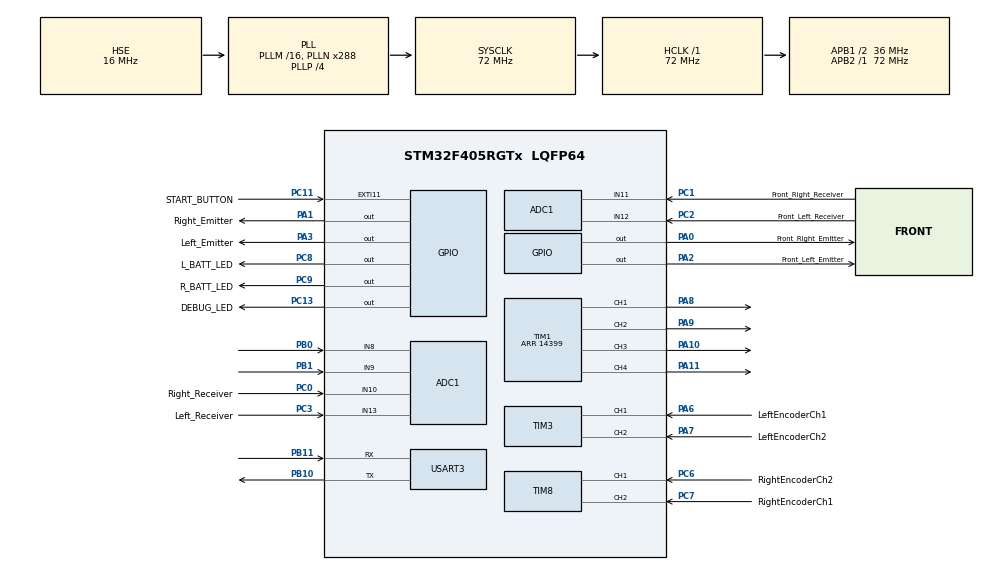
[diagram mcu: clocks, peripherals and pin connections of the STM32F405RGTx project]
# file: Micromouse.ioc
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ADC1.Channel-0\#ChannelRegularConversion=ADC_CHANNEL_13
ADC1.ContinuousConvMode=ENABLE
ADC1.DMAContinuousRequests=ENABLE
ADC1.NbrOfConversionFlag=1
ADC1.Rank-0\#ChannelRegularConversion=1
ADC1.SamplingTime-0\#ChannelRegularConversion=ADC_SAMPLETIME_3CYCLES
ADC1.master=1
Dma.ADC1.0.Direction=DMA_PERIPH_TO_MEMORY
Dma.ADC1.0.FIFOMode=DMA_FIFOMODE_DISABLE
Dma.ADC1.0.Instance=DMA2_Stream0
Dma.ADC1.0.MemDataAlignment=DMA_MDATAALIGN_HALFWORD
Dma.ADC1.0.MemInc=DMA_MINC_ENABLE
Dma.ADC1.0.Mode=DMA_CIRCULAR
Dma.ADC1.0.PeriphDataAlignment=DMA_PDATAALIGN_HALFWORD
Dma.ADC1.0.PeriphInc=DMA_PINC_DISABLE
Dma.ADC1.0.Priority=DMA_PRIORITY_LOW
Dma.Request0=ADC1
Mcu.Family=STM32F4
Mcu.Name=STM32F405RGTx
Mcu.Package=LQFP64
NVIC.DMA2_Stream0_IRQn=true\:0\:0\:false\:false\:true\:false\:true\:true
NVIC.PriorityGroup=NVIC_PRIORITYGROUP_4
PA0-WKUP.GPIO_Label=Front_Right_Emitter
PA0-WKUP.Signal=GPIO_Output
PA1.GPIO_Label=Right_Emitter
PA1.Signal=GPIO_Output
PA10.Signal=S_TIM1_CH3
PA11.Signal=S_TIM1_CH4
PA13.Mode=Serial_Wire
PA13.Signal=SYS_JTMS-SWDIO
PA14.Mode=Serial_Wire
PA14.Signal=SYS_JTCK-SWCLK
PA2.GPIO_Label=Front_Left_Emitter
PA2.Signal=GPIO_Output
PA3.GPIO_Label=Left_Emitter
PA3.Signal=GPIO_Output
PA6.GPIO_Label=LeftEncoderCh1
PA6.Signal=S_TIM3_CH1
PA7.GPIO_Label=LeftEncoderCh2
PA7.Signal=S_TIM3_CH2
PA8.Signal=S_TIM1_CH1
PA9.Signal=S_TIM1_CH2
PB0.Signal=SharedAnalog_PB0
PB1.Signal=SharedAnalog_PB1
PB10.Mode=Asynchronous
PB10.Signal=USART3_TX
PB11.Mode=Asynchronous
PB11.Signal=USART3_RX
PC0.GPIO_Label=Right_Receiver
PC0.Signal=SharedAnalog_PC0
PC1.GPIO_Label=Front_Right_Receiver
PC1.Signal=SharedAnalog_PC1
PC11.GPIO_Label=START_BUTTON
PC11.GPIO_ModeDefaultEXTI=GPIO_MODE_IT_RISING_FALLING
PC11.Signal=GPXTI11
PC13-ANTI_TAMP.GPIO_Label=DEBUG_LED
PC13-ANTI_TAMP.Signal=GPIO_Output
PC2.GPIO_Label=Front_Left_Receiver
PC2.Signal=SharedAnalog_PC2
PC3.GPIO_Label=Left_Receiver
PC3.Signal=SharedAnalog_PC3
PC6.GPIO_Label=RightEncoderCh2
PC6.Signal=S_TIM8_CH1
PC7.GPIO_Label=RightEncoderCh1
PC7.Signal=S_TIM8_CH2
PC8.GPIO_Label=L_BATT_LED
PC8.Signal=GPIO_Output
PC9.GPIO_Label=R_BATT_LED
PC9.Signal=GPIO_Output
PH0-OSC_IN.Mode=HSE-External-Oscillator
PH0-OSC_IN.Signal=RCC_OSC_IN
PH1-OSC_OUT.Mode=HSE-External-Oscillator
PH1-OSC_OUT.Signal=RCC_OSC_OUT
ProjectManager.HeapSize=0x200
ProjectManager.StackSize=0x400
ProjectManager.TargetToolchain=STM32CubeIDE
RCC.48MHZClocksFreq_Value=72000000
RCC.AHBFreq_Value=72000000
RCC.APB1CLKDivider=RCC_HCLK_DIV2
RCC.APB1Freq_Value=36000000
RCC.APB1TimFreq_Value=72000000
RCC.APB2Freq_Value=72000000
RCC.APB2TimFreq_Value=72000000
RCC.CortexFreq_Value=72000000
RCC.HCLKFreq_Value=72000000
RCC.HSE_VALUE=16000000
RCC.HSI_VALUE=16000000
RCC.LSE_VALUE=32768
RCC.PLLN=288
RCC.PLLP=RCC_PLLP_DIV4
RCC.PLLSourceVirtual=RCC_PLLSOURCE_HSE
RCC.SYSCLKFreq_VALUE=72000000
RCC.SYSCLKSource=RCC_SYSCLKSOURCE_PLLCLK
RCC.VCOOutputFreq_Value=288000000
SH.S_TIM1_CH1.0=TIM1_CH1,PWM Generation1 CH1
SH.S_TIM1_CH2.0=TIM1_CH2,PWM Generation2 CH2
SH.S_TIM1_CH3.0=TIM1_CH3,PWM Generation3 CH3
SH.S_TIM1_CH4.0=TIM1_CH4,PWM Generation4 CH4
SH.S_TIM3_CH1.0=TIM3_CH1,Encoder_Interface
SH.S_TIM3_CH2.0=TIM3_CH2,Encoder_Interface
SH.S_TIM8_CH1.0=TIM8_CH1,Encoder_Interface
SH.S_TIM8_CH2.0=TIM8_CH2,Encoder_Interface
SH.SharedAnalog_PB0.0=GPIO_Analog
SH.SharedAnalog_PB0.1=ADC1_IN8,IN8
SH.SharedAnalog_PB1.0=GPIO_Analog
SH.SharedAnalog_PB1.1=ADC1_IN9,IN9
SH.SharedAnalog_PC0.0=GPIO_Analog
SH.SharedAnalog_PC0.1=ADC1_IN10,IN10
SH.SharedAnalog_PC1.0=GPIO_Analog
SH.SharedAnalog_PC1.1=ADC1_IN11,IN11
SH.SharedAnalog_PC2.0=GPIO_Analog
SH.SharedAnalog_PC2.1=ADC1_IN12,IN12
SH.SharedAnalog_PC3.0=GPIO_Analog
SH.SharedAnalog_PC3.1=ADC1_IN13,IN13
TIM1.Channel-PWM\ Generation1\ CH1=TIM_CHANNEL_1
TIM1.Channel-PWM\ Generation2\ CH2=TIM_CHANNEL_2
TIM1.Channel-PWM\ Generation3\ CH3=TIM_CHANNEL_3
TIM1.Channel-PWM\ Generation4\ CH4=TIM_CHANNEL_4
TIM1.Period=14399
TIM3.EncoderMode=TIM_ENCODERMODE_TI12
TIM3.IC2Polarity=TIM_ICPOLARITY_FALLING
TIM8.EncoderMode=TIM_ENCODERMODE_TI12
TIM8.IC1Polarity=TIM_ICPOLARITY_FALLING
USART3.VirtualMode=VM_ASYNC
board=custom

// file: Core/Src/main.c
/* USER CODE BEGIN Header */
/**
  ******************************************************************************
  * @file           : main.c
  * @brief          : Main program body
  ******************************************************************************
  * @attention
  *
  * Copyright (c) 2025 STMicroelectronics.
  * All rights reserved.
  *
  * This software is licensed under terms that can be found in the LICENSE file
  * in the root directory of this software component.
  * If no LICENSE file comes with this software, it is provided AS-IS.
  *
  ******************************************************************************
  */
/* USER CODE END Header */
#include "main.h"

/* USER CODE BEGIN Includes */
#include "encoders.h"
#include "motors.h"
#include "controller.h"
#include "delay.h"
#include "pid.h"
/* USER CODE END Includes */

ADC_HandleTypeDef hadc1;
DMA_HandleTypeDef hdma_adc1;

TIM_HandleTypeDef htim1;
TIM_HandleTypeDef htim3;
TIM_HandleTypeDef htim8;

UART_HandleTypeDef huart3;

/* USER CODE BEGIN PV */
int16_t left_counts = 0;
int16_t right_counts = 0;
/* USER CODE END PV */

void SystemClock_Config(void);
static void MX_GPIO_Init(void);
static void MX_DMA_Init(void);
static void MX_TIM1_Init(void);
static void MX_TIM3_Init(void);
static void MX_TIM8_Init(void);
static void MX_USART3_UART_Init(void);
static void MX_ADC1_Init(void);

int main(void)
{

  /* MCU Configuration--------------------------------------------------------*/

  /* Reset of all peripherals, Initializes the Flash interface and the Systick. */
  HAL_Init();

  /* USER CODE BEGIN Init */
  Delay_Init();
  /* USER CODE END Init */

  /* Configure the system clock */
  SystemClock_Config();

  /* Initialize all configured peripherals */
  MX_GPIO_Init();
  MX_DMA_Init();
  MX_TIM1_Init();
  MX_TIM3_Init();
  MX_TIM8_Init();
  MX_USART3_UART_Init();
  MX_ADC1_Init();
  /* USER CODE BEGIN 2 */
  //enable encoders
  HAL_TIM_Encoder_Start(&htim3, TIM_CHANNEL_ALL); //left encoder
  HAL_TIM_Encoder_Start(&htim8, TIM_CHANNEL_ALL); //right encoder

  HAL_TIM_PWM_Start(&htim1, TIM_CHANNEL_1);
  HAL_TIM_PWM_Start(&htim1, TIM_CHANNEL_2);
  HAL_TIM_PWM_Start(&htim1, TIM_CHANNEL_3);
  HAL_TIM_PWM_Start(&htim1, TIM_CHANNEL_4);

//  uint32_t start = HAL_GetTick();
  HAL_Delay(1000);
  resetPID();
  pivot_turn(1);
  pivot_turn(-1);
  move(1);

  /* USER CODE END 2 */

  /* Infinite loop */
  /* USER CODE BEGIN WHILE */
  while (1)
  {
//	  uint32_t now = HAL_GetTick();
	  left_counts = getLeftEncoderCounts();
	  right_counts = getRightEncoderCounts();

//	  if (now - start >= 100 ){
//		  start = now;
//		  HAL_GPIO_TogglePin(GPIOC, DEBUG_LED_Pin);
//	  }
    /* USER CODE END WHILE */

  }
}

void SystemClock_Config(void)
{
  RCC_OscInitTypeDef RCC_OscInitStruct = {0};
  RCC_ClkInitTypeDef RCC_ClkInitStruct = {0};

  /** Configure the main internal regulator output voltage
  */
  __HAL_RCC_PWR_CLK_ENABLE();
  __HAL_PWR_VOLTAGESCALING_CONFIG(PWR_REGULATOR_VOLTAGE_SCALE1);

  /** Initializes the RCC Oscillators according to the specified parameters
  * in the RCC_OscInitTypeDef structure.
  */
  RCC_OscInitStruct.OscillatorType = RCC_OSCILLATORTYPE_HSE;
  RCC_OscInitStruct.HSEState = RCC_HSE_ON;
  RCC_OscInitStruct.PLL.PLLState = RCC_PLL_ON;
  RCC_OscInitStruct.PLL.PLLSource = RCC_PLLSOURCE_HSE;
  RCC_OscInitStruct.PLL.PLLM = 16;
  RCC_OscInitStruct.PLL.PLLN = 288;
  RCC_OscInitStruct.PLL.PLLP = RCC_PLLP_DIV4;
  RCC_OscInitStruct.PLL.PLLQ = 4;
  if (HAL_RCC_OscConfig(&RCC_OscInitStruct) != HAL_OK)
  {
    Error_Handler();
  }

  /** Initializes the CPU, AHB and APB buses clocks
  */
  RCC_ClkInitStruct.ClockType = RCC_CLOCKTYPE_HCLK|RCC_CLOCKTYPE_SYSCLK
                              |RCC_CLOCKTYPE_PCLK1|RCC_CLOCKTYPE_PCLK2;
  RCC_ClkInitStruct.SYSCLKSource = RCC_SYSCLKSOURCE_PLLCLK;
  RCC_ClkInitStruct.AHBCLKDivider = RCC_SYSCLK_DIV1;
  RCC_ClkInitStruct.APB1CLKDivider = RCC_HCLK_DIV2;
  RCC_ClkInitStruct.APB2CLKDivider = RCC_HCLK_DIV1;

  if (HAL_RCC_ClockConfig(&RCC_ClkInitStruct, FLASH_LATENCY_2) != HAL_OK)
  {
    Error_Handler();
  }
}

static void MX_ADC1_Init(void)
{

  ADC_ChannelConfTypeDef sConfig = {0};

  /** Configure the global features of the ADC (Clock, Resolution, Data Alignment and number of conversion)
  */
  hadc1.Instance = ADC1;
  hadc1.Init.ClockPrescaler = ADC_CLOCK_SYNC_PCLK_DIV2;
  hadc1.Init.Resolution = ADC_RESOLUTION_12B;
  hadc1.Init.ScanConvMode = DISABLE;
  hadc1.Init.ContinuousConvMode = ENABLE;
  hadc1.Init.DiscontinuousConvMode = DISABLE;
  hadc1.Init.ExternalTrigConvEdge = ADC_EXTERNALTRIGCONVEDGE_NONE;
  hadc1.Init.ExternalTrigConv = ADC_SOFTWARE_START;
  hadc1.Init.DataAlign = ADC_DATAALIGN_RIGHT;
  hadc1.Init.NbrOfConversion = 1;
  hadc1.Init.DMAContinuousRequests = ENABLE;
  hadc1.Init.EOCSelection = ADC_EOC_SINGLE_CONV;
  if (HAL_ADC_Init(&hadc1) != HAL_OK)
  {
    Error_Handler();
  }

  /** Configure for the selected ADC regular channel its corresponding rank in the sequencer and its sample time.
  */
  sConfig.Channel = ADC_CHANNEL_13;
  sConfig.Rank = 1;
  sConfig.SamplingTime = ADC_SAMPLETIME_3CYCLES;
  if (HAL_ADC_ConfigChannel(&hadc1, &sConfig) != HAL_OK)
  {
    Error_Handler();
  }

}

static void MX_TIM1_Init(void)
{

  TIM_MasterConfigTypeDef sMasterConfig = {0};
  TIM_OC_InitTypeDef sConfigOC = {0};
  TIM_BreakDeadTimeConfigTypeDef sBreakDeadTimeConfig = {0};

  htim1.Instance = TIM1;
  htim1.Init.Prescaler = 0;
  htim1.Init.CounterMode = TIM_COUNTERMODE_UP;
  htim1.Init.Period = 14399;
  htim1.Init.ClockDivision = TIM_CLOCKDIVISION_DIV1;
  htim1.Init.RepetitionCounter = 0;
  htim1.Init.AutoReloadPreload = TIM_AUTORELOAD_PRELOAD_DISABLE;
  if (HAL_TIM_PWM_Init(&htim1) != HAL_OK)
  {
    Error_Handler();
  }
  sMasterConfig.MasterOutputTrigger = TIM_TRGO_RESET;
  sMasterConfig.MasterSlaveMode = TIM_MASTERSLAVEMODE_DISABLE;
  if (HAL_TIMEx_MasterConfigSynchronization(&htim1, &sMasterConfig) != HAL_OK)
  {
    Error_Handler();
  }
  sConfigOC.OCMode = TIM_OCMODE_PWM1;
  sConfigOC.Pulse = 0;
  sConfigOC.OCPolarity = TIM_OCPOLARITY_HIGH;
  sConfigOC.OCNPolarity = TIM_OCNPOLARITY_HIGH;
  sConfigOC.OCFastMode = TIM_OCFAST_DISABLE;
  sConfigOC.OCIdleState = TIM_OCIDLESTATE_RESET;
  sConfigOC.OCNIdleState = TIM_OCNIDLESTATE_RESET;
  if (HAL_TIM_PWM_ConfigChannel(&htim1, &sConfigOC, TIM_CHANNEL_1) != HAL_OK)
  {
    Error_Handler();
  }
  if (HAL_TIM_PWM_ConfigChannel(&htim1, &sConfigOC, TIM_CHANNEL_2) != HAL_OK)
  {
    Error_Handler();
  }
  if (HAL_TIM_PWM_ConfigChannel(&htim1, &sConfigOC, TIM_CHANNEL_3) != HAL_OK)
  {
    Error_Handler();
  }
  if (HAL_TIM_PWM_ConfigChannel(&htim1, &sConfigOC, TIM_CHANNEL_4) != HAL_OK)
  {
    Error_Handler();
  }
  sBreakDeadTimeConfig.OffStateRunMode = TIM_OSSR_DISABLE;
  sBreakDeadTimeConfig.OffStateIDLEMode = TIM_OSSI_DISABLE;
  sBreakDeadTimeConfig.LockLevel = TIM_LOCKLEVEL_OFF;
  sBreakDeadTimeConfig.DeadTime = 0;
  sBreakDeadTimeConfig.BreakState = TIM_BREAK_DISABLE;
  sBreakDeadTimeConfig.BreakPolarity = TIM_BREAKPOLARITY_HIGH;
  sBreakDeadTimeConfig.AutomaticOutput = TIM_AUTOMATICOUTPUT_DISABLE;
  if (HAL_TIMEx_ConfigBreakDeadTime(&htim1, &sBreakDeadTimeConfig) != HAL_OK)
  {
    Error_Handler();
  }
  HAL_TIM_MspPostInit(&htim1);

}

static void MX_TIM3_Init(void)
{

  TIM_Encoder_InitTypeDef sConfig = {0};
  TIM_MasterConfigTypeDef sMasterConfig = {0};

  htim3.Instance = TIM3;
  htim3.Init.Prescaler = 0;
  htim3.Init.CounterMode = TIM_COUNTERMODE_UP;
  htim3.Init.Period = 65535;
  htim3.Init.ClockDivision = TIM_CLOCKDIVISION_DIV1;
  htim3.Init.AutoReloadPreload = TIM_AUTORELOAD_PRELOAD_DISABLE;
  sConfig.EncoderMode = TIM_ENCODERMODE_TI12;
  sConfig.IC1Polarity = TIM_ICPOLARITY_RISING;
  sConfig.IC1Selection = TIM_ICSELECTION_DIRECTTI;
  sConfig.IC1Prescaler = TIM_ICPSC_DIV1;
  sConfig.IC1Filter = 0;
  sConfig.IC2Polarity = TIM_ICPOLARITY_FALLING;
  sConfig.IC2Selection = TIM_ICSELECTION_DIRECTTI;
  sConfig.IC2Prescaler = TIM_ICPSC_DIV1;
  sConfig.IC2Filter = 0;
  if (HAL_TIM_Encoder_Init(&htim3, &sConfig) != HAL_OK)
  {
    Error_Handler();
  }
  sMasterConfig.MasterOutputTrigger = TIM_TRGO_RESET;
  sMasterConfig.MasterSlaveMode = TIM_MASTERSLAVEMODE_DISABLE;
  if (HAL_TIMEx_MasterConfigSynchronization(&htim3, &sMasterConfig) != HAL_OK)
  {
    Error_Handler();
  }

}

static void MX_TIM8_Init(void)
{

  TIM_Encoder_InitTypeDef sConfig = {0};
  TIM_MasterConfigTypeDef sMasterConfig = {0};

  htim8.Instance = TIM8;
  htim8.Init.Prescaler = 0;
  htim8.Init.CounterMode = TIM_COUNTERMODE_UP;
  htim8.Init.Period = 65535;
  htim8.Init.ClockDivision = TIM_CLOCKDIVISION_DIV1;
  htim8.Init.RepetitionCounter = 0;
  htim8.Init.AutoReloadPreload = TIM_AUTORELOAD_PRELOAD_DISABLE;
  sConfig.EncoderMode = TIM_ENCODERMODE_TI12;
  sConfig.IC1Polarity = TIM_ICPOLARITY_FALLING;
  sConfig.IC1Selection = TIM_ICSELECTION_DIRECTTI;
  sConfig.IC1Prescaler = TIM_ICPSC_DIV1;
  sConfig.IC1Filter = 0;
  sConfig.IC2Polarity = TIM_ICPOLARITY_RISING;
  sConfig.IC2Selection = TIM_ICSELECTION_DIRECTTI;
  sConfig.IC2Prescaler = TIM_ICPSC_DIV1;
  sConfig.IC2Filter = 0;
  if (HAL_TIM_Encoder_Init(&htim8, &sConfig) != HAL_OK)
  {
    Error_Handler();
  }
  sMasterConfig.MasterOutputTrigger = TIM_TRGO_RESET;
  sMasterConfig.MasterSlaveMode = TIM_MASTERSLAVEMODE_DISABLE;
  if (HAL_TIMEx_MasterConfigSynchronization(&htim8, &sMasterConfig) != HAL_OK)
  {
    Error_Handler();
  }

}

static void MX_USART3_UART_Init(void)
{

  huart3.Instance = USART3;
  huart3.Init.BaudRate = 115200;
  huart3.Init.WordLength = UART_WORDLENGTH_8B;
  huart3.Init.StopBits = UART_STOPBITS_1;
  huart3.Init.Parity = UART_PARITY_NONE;
  huart3.Init.Mode = UART_MODE_TX_RX;
  huart3.Init.HwFlowCtl = UART_HWCONTROL_NONE;
  huart3.Init.OverSampling = UART_OVERSAMPLING_16;
  if (HAL_UART_Init(&huart3) != HAL_OK)
  {
    Error_Handler();
  }

}

static void MX_DMA_Init(void)
{

  /* DMA controller clock enable */
  __HAL_RCC_DMA2_CLK_ENABLE();

  /* DMA interrupt init */
  /* DMA2_Stream0_IRQn interrupt configuration */
  HAL_NVIC_SetPriority(DMA2_Stream0_IRQn, 0, 0);
  HAL_NVIC_EnableIRQ(DMA2_Stream0_IRQn);

}

static void MX_GPIO_Init(void)
{
  GPIO_InitTypeDef GPIO_InitStruct = {0};

  /* GPIO Ports Clock Enable */
  __HAL_RCC_GPIOC_CLK_ENABLE();
  __HAL_RCC_GPIOH_CLK_ENABLE();
  __HAL_RCC_GPIOA_CLK_ENABLE();
  __HAL_RCC_GPIOB_CLK_ENABLE();

  /*Configure GPIO pin Output Level */
  HAL_GPIO_WritePin(GPIOC, DEBUG_LED_Pin|L_BATT_LED_Pin|R_BATT_LED_Pin, GPIO_PIN_RESET);

  /*Configure GPIO pin Output Level */
  HAL_GPIO_WritePin(GPIOA, Front_Right_Emitter_Pin|Right_Emitter_Pin|Front_Left_Emitter_Pin|Left_Emitter_Pin, GPIO_PIN_RESET);

  /*Configure GPIO pins : DEBUG_LED_Pin L_BATT_LED_Pin R_BATT_LED_Pin */
  GPIO_InitStruct.Pin = DEBUG_LED_Pin|L_BATT_LED_Pin|R_BATT_LED_Pin;
  GPIO_InitStruct.Mode = GPIO_MODE_OUTPUT_PP;
  GPIO_InitStruct.Pull = GPIO_NOPULL;
  GPIO_InitStruct.Speed = GPIO_SPEED_FREQ_LOW;
  HAL_GPIO_Init(GPIOC, &GPIO_InitStruct);

  /*Configure GPIO pins : Front_Right_Emitter_Pin Right_Emitter_Pin Front_Left_Emitter_Pin Left_Emitter_Pin */
  GPIO_InitStruct.Pin = Front_Right_Emitter_Pin|Right_Emitter_Pin|Front_Left_Emitter_Pin|Left_Emitter_Pin;
  GPIO_InitStruct.Mode = GPIO_MODE_OUTPUT_PP;
  GPIO_InitStruct.Pull = GPIO_NOPULL;
  GPIO_InitStruct.Speed = GPIO_SPEED_FREQ_LOW;
  HAL_GPIO_Init(GPIOA, &GPIO_InitStruct);

  /*Configure GPIO pin : START_BUTTON_Pin */
  GPIO_InitStruct.Pin = START_BUTTON_Pin;
  GPIO_InitStruct.Mode = GPIO_MODE_IT_RISING_FALLING;
  GPIO_InitStruct.Pull = GPIO_NOPULL;
  HAL_GPIO_Init(START_BUTTON_GPIO_Port, &GPIO_InitStruct);

}

/* USER CODE BEGIN 4 */
ADC_HandleTypeDef* Get_HADC1_Ptr(void)
{
    return &hadc1;
}
/* USER CODE END 4 */

void Error_Handler(void)
{
  __disable_irq();
  while (1)
  {
  }
}
